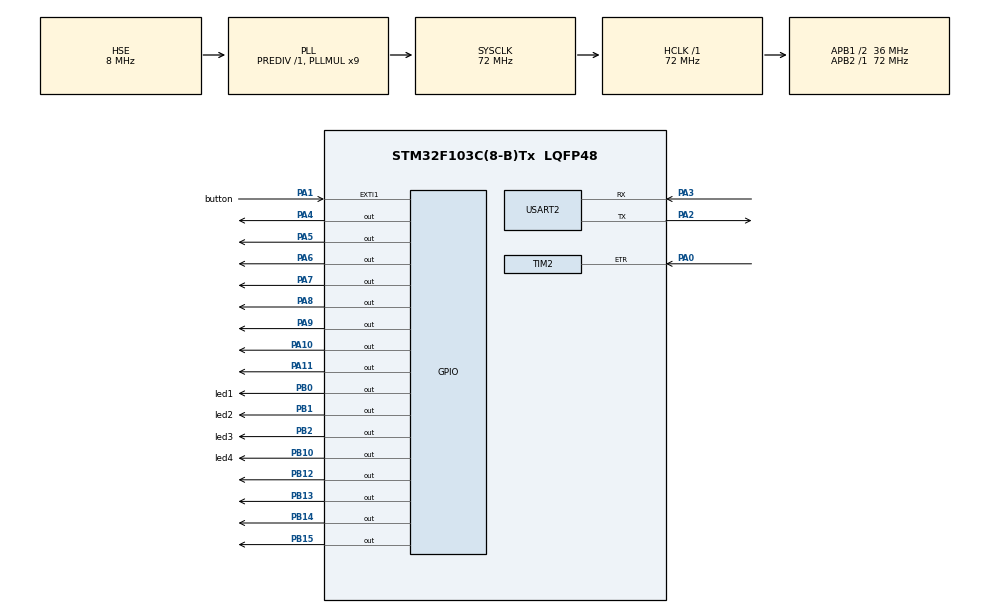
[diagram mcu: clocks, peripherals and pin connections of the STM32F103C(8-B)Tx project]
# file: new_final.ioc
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Mcu.Family=STM32F1
Mcu.Name=STM32F103C(8-B)Tx
Mcu.Package=LQFP48
NVIC.EXTI1_IRQn=true\:0\:0\:false\:false\:true\:true\:true\:true
NVIC.PriorityGroup=NVIC_PRIORITYGROUP_4
NVIC.TIM1_UP_IRQn=true\:0\:0\:false\:false\:true\:true\:true\:true
NVIC.USART2_IRQn=true\:0\:0\:false\:false\:true\:true\:true\:true
PA0-WKUP.Signal=S_TIM2_CH1_ETR
PA1.GPIO_Label=button
PA1.GPIO_PuPd=GPIO_PULLDOWN
PA1.Signal=GPXTI1
PA10.Signal=GPIO_Output
PA11.Signal=GPIO_Output
PA13.Mode=Serial_Wire
PA13.Signal=SYS_JTMS-SWDIO
PA14.Mode=Serial_Wire
PA14.Signal=SYS_JTCK-SWCLK
PA2.Mode=Asynchronous
PA2.Signal=USART2_TX
PA3.Mode=Asynchronous
PA3.Signal=USART2_RX
PA4.GPIO_Speed=GPIO_SPEED_FREQ_HIGH
PA4.Signal=GPIO_Output
PA5.GPIO_Speed=GPIO_SPEED_FREQ_HIGH
PA5.Signal=GPIO_Output
PA6.GPIO_Speed=GPIO_SPEED_FREQ_HIGH
PA6.Signal=GPIO_Output
PA7.GPIO_Speed=GPIO_SPEED_FREQ_HIGH
PA7.Signal=GPIO_Output
PA8.Signal=GPIO_Output
PA9.Signal=GPIO_Output
PB0.GPIO_Label=led1
PB0.Signal=GPIO_Output
PB1.GPIO_Label=led2
PB1.Signal=GPIO_Output
PB10.GPIO_Label=led4
PB10.Signal=GPIO_Output
PB12.Signal=GPIO_Output
PB13.Signal=GPIO_Output
PB14.Signal=GPIO_Output
PB15.Signal=GPIO_Output
PB2.GPIO_Label=led3
PB2.Signal=GPIO_Output
PD0-OSC_IN.Mode=HSE-External-Oscillator
PD0-OSC_IN.Signal=RCC_OSC_IN
PD1-OSC_OUT.Mode=HSE-External-Oscillator
PD1-OSC_OUT.Signal=RCC_OSC_OUT
ProjectManager.HeapSize=0x200
ProjectManager.StackSize=0x400
ProjectManager.TargetToolchain=STM32CubeIDE
RCC.AHBFreq_Value=72000000
RCC.APB1CLKDivider=RCC_HCLK_DIV2
RCC.APB1Freq_Value=36000000
RCC.APB1TimFreq_Value=72000000
RCC.APB2Freq_Value=72000000
RCC.APB2TimFreq_Value=72000000
RCC.HCLKFreq_Value=72000000
RCC.PLLMUL=RCC_PLL_MUL9
RCC.PLLSourceVirtual=RCC_PLLSOURCE_HSE
RCC.SYSCLKFreq_VALUE=72000000
RCC.SYSCLKSource=RCC_SYSCLKSOURCE_PLLCLK
RCC.USBFreq_Value=72000000
SH.S_TIM2_CH1_ETR.0=TIM2_ETR,ClockSourceETR_Mode2
TIM1.CounterMode=TIM_COUNTERMODE_DOWN
TIM1.Period=99
TIM1.Prescaler=7199
TIM1.TIM_MasterOutputTrigger=TIM_TRGO_ENABLE
TIM1.TIM_MasterSlaveMode=TIM_MASTERSLAVEMODE_ENABLE
TIM2.TIM_MasterOutputTrigger=TIM_TRGO_UPDATE
USART2.VirtualMode=VM_ASYNC
VP_TIM1_VS_ClockSourceINT.Mode=Internal
VP_TIM1_VS_OPM.Mode=OPM_bit
VP_TIM2_VS_ClockSourceITR.Mode=TriggerSource_ITR0
VP_TIM2_VS_ControllerModeGated.Mode=Gated Mode
VP_TIM3_VS_ClockSourceITR.Mode=TriggerSource_ITR1
VP_TIM3_VS_ControllerModeClock.Mode=Clock Mode
board=custom

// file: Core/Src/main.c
/* USER CODE BEGIN Header */
/**
  ******************************************************************************
  * @file           : main.c
  * @brief          : Main program body
  ******************************************************************************
  * @attention
  *
  * Copyright (c) 2025 STMicroelectronics.
  * All rights reserved.
  *
  * This software is licensed under terms that can be found in the LICENSE file
  * in the root directory of this software component.
  * If no LICENSE file comes with this software, it is provided AS-IS.
  *
  ******************************************************************************
  */
/* USER CODE END Header */
#include "main.h"

/* USER CODE BEGIN Includes */
#include <stdio.h>
#include <string.h>
#include <stdbool.h>
/* USER CODE END Includes */

TIM_HandleTypeDef htim1;
TIM_HandleTypeDef htim2;
TIM_HandleTypeDef htim3;

UART_HandleTypeDef huart2;

void SystemClock_Config(void);
static void MX_GPIO_Init(void);
static void MX_TIM1_Init(void);
static void MX_USART2_UART_Init(void);
static void MX_TIM2_Init(void);
static void MX_TIM3_Init(void);

/* USER CODE BEGIN 0 */
#define MAX_SAMPLES 11  // Мы будем искать медианное значение 10-ти импульсов
#define NUMBER_OF_SENSORS 8 //кол-во датчиков
volatile uint8_t isProccess = 0;
volatile uint32_t frequenciesForCurrentSensor[MAX_SAMPLES];
volatile uint32_t capture_count = 0;
volatile uint32_t lastInterruptTime = 0;
volatile uint8_t currentSensor = 0;
volatile uint32_t frequenciesResults[NUMBER_OF_SENSORS];
uint8_t rxBuffer[1];
void SelectMuxChannel(uint8_t channel);
void PrintSensorFrequencies();

typedef struct {
    uint8_t s0, s1, s2, s3;  // Управление мультиплексором
    GPIO_TypeDef* power_port; // Порт питания датчика
    uint16_t power_pin;       // Пин питания датчика
} MuxChannelConfig;
// Массив для выбора каналов [S0, S1, S2, S3] (канал 0-7)
// Формат: [S0, S1, S2, S3, GPIO_PORT, GPIO_PIN]
const MuxChannelConfig muxChannels[16]  = {
    {0, 0, 0, 0, GPIOB, GPIO_PIN_12},  // Канал 0 → PB12 (1-й датчик)
    {1, 0, 0, 0, GPIOB, GPIO_PIN_13},  // Канал 1 → PB13 (2-й датчик)
    {0, 1, 0, 0, GPIOB, GPIO_PIN_14},  // Канал 2 → PB14
    {1, 1, 0, 0, GPIOB, GPIO_PIN_15},  // Канал 3 → PB15
    {0, 0, 1, 0, GPIOA, GPIO_PIN_8},   // Канал 4 → PA8
    {1, 0, 1, 0, GPIOA, GPIO_PIN_9},   // Канал 5 → PA9
    {0, 1, 1, 0, GPIOA, GPIO_PIN_10},  // Канал 6 → PA10
    {1, 1, 1, 0, GPIOA, GPIO_PIN_11},  // Канал 7 → PA11
};
/* USER CODE END 0 */

int main(void)
{

  /* MCU Configuration--------------------------------------------------------*/

  /* Reset of all peripherals, Initializes the Flash interface and the Systick. */
  HAL_Init();

  /* Configure the system clock */
  SystemClock_Config();

  /* Initialize all configured peripherals */
  MX_GPIO_Init();
  MX_TIM1_Init();
  MX_USART2_UART_Init();
  MX_TIM2_Init();
  MX_TIM3_Init();

  /* Infinite loop */
  /* USER CODE BEGIN WHILE */
  HAL_UART_Receive_IT(&huart2, rxBuffer, 1);
  while (1)
  {
    /* USER CODE END WHILE */

  }
}

void SystemClock_Config(void)
{
  RCC_OscInitTypeDef RCC_OscInitStruct = {0};
  RCC_ClkInitTypeDef RCC_ClkInitStruct = {0};

  /** Initializes the RCC Oscillators according to the specified parameters
  * in the RCC_OscInitTypeDef structure.
  */
  RCC_OscInitStruct.OscillatorType = RCC_OSCILLATORTYPE_HSE;
  RCC_OscInitStruct.HSEState = RCC_HSE_ON;
  RCC_OscInitStruct.HSEPredivValue = RCC_HSE_PREDIV_DIV1;
  RCC_OscInitStruct.HSIState = RCC_HSI_ON;
  RCC_OscInitStruct.PLL.PLLState = RCC_PLL_ON;
  RCC_OscInitStruct.PLL.PLLSource = RCC_PLLSOURCE_HSE;
  RCC_OscInitStruct.PLL.PLLMUL = RCC_PLL_MUL9;
  if (HAL_RCC_OscConfig(&RCC_OscInitStruct) != HAL_OK)
  {
    Error_Handler();
  }

  /** Initializes the CPU, AHB and APB buses clocks
  */
  RCC_ClkInitStruct.ClockType = RCC_CLOCKTYPE_HCLK|RCC_CLOCKTYPE_SYSCLK
                              |RCC_CLOCKTYPE_PCLK1|RCC_CLOCKTYPE_PCLK2;
  RCC_ClkInitStruct.SYSCLKSource = RCC_SYSCLKSOURCE_PLLCLK;
  RCC_ClkInitStruct.AHBCLKDivider = RCC_SYSCLK_DIV1;
  RCC_ClkInitStruct.APB1CLKDivider = RCC_HCLK_DIV2;
  RCC_ClkInitStruct.APB2CLKDivider = RCC_HCLK_DIV1;

  if (HAL_RCC_ClockConfig(&RCC_ClkInitStruct, FLASH_LATENCY_2) != HAL_OK)
  {
    Error_Handler();
  }
}

static void MX_TIM1_Init(void)
{

  TIM_ClockConfigTypeDef sClockSourceConfig = {0};
  TIM_MasterConfigTypeDef sMasterConfig = {0};

  htim1.Instance = TIM1;
  htim1.Init.Prescaler = 7199;
  htim1.Init.CounterMode = TIM_COUNTERMODE_DOWN;
  htim1.Init.Period = 99;
  htim1.Init.ClockDivision = TIM_CLOCKDIVISION_DIV1;
  htim1.Init.RepetitionCounter = 0;
  htim1.Init.AutoReloadPreload = TIM_AUTORELOAD_PRELOAD_DISABLE;
  if (HAL_TIM_Base_Init(&htim1) != HAL_OK)
  {
    Error_Handler();
  }
  sClockSourceConfig.ClockSource = TIM_CLOCKSOURCE_INTERNAL;
  if (HAL_TIM_ConfigClockSource(&htim1, &sClockSourceConfig) != HAL_OK)
  {
    Error_Handler();
  }
  if (HAL_TIM_OnePulse_Init(&htim1, TIM_OPMODE_SINGLE) != HAL_OK)
  {
    Error_Handler();
  }
  sMasterConfig.MasterOutputTrigger = TIM_TRGO_ENABLE;
  sMasterConfig.MasterSlaveMode = TIM_MASTERSLAVEMODE_ENABLE;
  if (HAL_TIMEx_MasterConfigSynchronization(&htim1, &sMasterConfig) != HAL_OK)
  {
    Error_Handler();
  }

}

static void MX_TIM2_Init(void)
{

  TIM_ClockConfigTypeDef sClockSourceConfig = {0};
  TIM_SlaveConfigTypeDef sSlaveConfig = {0};
  TIM_MasterConfigTypeDef sMasterConfig = {0};

  htim2.Instance = TIM2;
  htim2.Init.Prescaler = 0;
  htim2.Init.CounterMode = TIM_COUNTERMODE_UP;
  htim2.Init.Period = 65535;
  htim2.Init.ClockDivision = TIM_CLOCKDIVISION_DIV1;
  htim2.Init.AutoReloadPreload = TIM_AUTORELOAD_PRELOAD_DISABLE;
  if (HAL_TIM_Base_Init(&htim2) != HAL_OK)
  {
    Error_Handler();
  }
  sClockSourceConfig.ClockSource = TIM_CLOCKSOURCE_ETRMODE2;
  sClockSourceConfig.ClockPolarity = TIM_CLOCKPOLARITY_NONINVERTED;
  sClockSourceConfig.ClockPrescaler = TIM_CLOCKPRESCALER_DIV1;
  sClockSourceConfig.ClockFilter = 0;
  if (HAL_TIM_ConfigClockSource(&htim2, &sClockSourceConfig) != HAL_OK)
  {
    Error_Handler();
  }
  sSlaveConfig.SlaveMode = TIM_SLAVEMODE_GATED;
  sSlaveConfig.InputTrigger = TIM_TS_ITR0;
  if (HAL_TIM_SlaveConfigSynchro(&htim2, &sSlaveConfig) != HAL_OK)
  {
    Error_Handler();
  }
  sMasterConfig.MasterOutputTrigger = TIM_TRGO_UPDATE;
  sMasterConfig.MasterSlaveMode = TIM_MASTERSLAVEMODE_DISABLE;
  if (HAL_TIMEx_MasterConfigSynchronization(&htim2, &sMasterConfig) != HAL_OK)
  {
    Error_Handler();
  }

}

static void MX_TIM3_Init(void)
{

  TIM_SlaveConfigTypeDef sSlaveConfig = {0};
  TIM_MasterConfigTypeDef sMasterConfig = {0};

  htim3.Instance = TIM3;
  htim3.Init.Prescaler = 0;
  htim3.Init.CounterMode = TIM_COUNTERMODE_UP;
  htim3.Init.Period = 65535;
  htim3.Init.ClockDivision = TIM_CLOCKDIVISION_DIV1;
  htim3.Init.AutoReloadPreload = TIM_AUTORELOAD_PRELOAD_DISABLE;
  if (HAL_TIM_Base_Init(&htim3) != HAL_OK)
  {
    Error_Handler();
  }
  sSlaveConfig.SlaveMode = TIM_SLAVEMODE_EXTERNAL1;
  sSlaveConfig.InputTrigger = TIM_TS_ITR1;
  if (HAL_TIM_SlaveConfigSynchro(&htim3, &sSlaveConfig) != HAL_OK)
  {
    Error_Handler();
  }
  sMasterConfig.MasterOutputTrigger = TIM_TRGO_RESET;
  sMasterConfig.MasterSlaveMode = TIM_MASTERSLAVEMODE_DISABLE;
  if (HAL_TIMEx_MasterConfigSynchronization(&htim3, &sMasterConfig) != HAL_OK)
  {
    Error_Handler();
  }

}

static void MX_USART2_UART_Init(void)
{

  huart2.Instance = USART2;
  huart2.Init.BaudRate = 115200;
  huart2.Init.WordLength = UART_WORDLENGTH_8B;
  huart2.Init.StopBits = UART_STOPBITS_1;
  huart2.Init.Parity = UART_PARITY_NONE;
  huart2.Init.Mode = UART_MODE_TX_RX;
  huart2.Init.HwFlowCtl = UART_HWCONTROL_NONE;
  huart2.Init.OverSampling = UART_OVERSAMPLING_16;
  if (HAL_UART_Init(&huart2) != HAL_OK)
  {
    Error_Handler();
  }

}

static void MX_GPIO_Init(void)
{
  GPIO_InitTypeDef GPIO_InitStruct = {0};

  /* GPIO Ports Clock Enable */
  __HAL_RCC_GPIOD_CLK_ENABLE();
  __HAL_RCC_GPIOA_CLK_ENABLE();
  __HAL_RCC_GPIOB_CLK_ENABLE();

  /*Configure GPIO pin Output Level */
  HAL_GPIO_WritePin(GPIOA, GPIO_PIN_4|GPIO_PIN_5|GPIO_PIN_6|GPIO_PIN_7
                          |GPIO_PIN_8|GPIO_PIN_9|GPIO_PIN_10|GPIO_PIN_11, GPIO_PIN_RESET);

  /*Configure GPIO pin Output Level */
  HAL_GPIO_WritePin(GPIOB, led1_Pin|led2_Pin|led3_Pin|led4_Pin
                          |GPIO_PIN_12|GPIO_PIN_13|GPIO_PIN_14|GPIO_PIN_15, GPIO_PIN_RESET);

  /*Configure GPIO pin : button_Pin */
  GPIO_InitStruct.Pin = button_Pin;
  GPIO_InitStruct.Mode = GPIO_MODE_IT_RISING;
  GPIO_InitStruct.Pull = GPIO_PULLDOWN;
  HAL_GPIO_Init(button_GPIO_Port, &GPIO_InitStruct);

  /*Configure GPIO pins : PA4 PA5 PA6 PA7 */
  GPIO_InitStruct.Pin = GPIO_PIN_4|GPIO_PIN_5|GPIO_PIN_6|GPIO_PIN_7;
  GPIO_InitStruct.Mode = GPIO_MODE_OUTPUT_PP;
  GPIO_InitStruct.Pull = GPIO_NOPULL;
  GPIO_InitStruct.Speed = GPIO_SPEED_FREQ_HIGH;
  HAL_GPIO_Init(GPIOA, &GPIO_InitStruct);

  /*Configure GPIO pins : led1_Pin led2_Pin led3_Pin led4_Pin
                           PB12 PB13 PB14 PB15 */
  GPIO_InitStruct.Pin = led1_Pin|led2_Pin|led3_Pin|led4_Pin
                          |GPIO_PIN_12|GPIO_PIN_13|GPIO_PIN_14|GPIO_PIN_15;
  GPIO_InitStruct.Mode = GPIO_MODE_OUTPUT_PP;
  GPIO_InitStruct.Pull = GPIO_NOPULL;
  GPIO_InitStruct.Speed = GPIO_SPEED_FREQ_LOW;
  HAL_GPIO_Init(GPIOB, &GPIO_InitStruct);

  /*Configure GPIO pins : PA8 PA9 PA10 PA11 */
  GPIO_InitStruct.Pin = GPIO_PIN_8|GPIO_PIN_9|GPIO_PIN_10|GPIO_PIN_11;
  GPIO_InitStruct.Mode = GPIO_MODE_OUTPUT_PP;
  GPIO_InitStruct.Pull = GPIO_NOPULL;
  GPIO_InitStruct.Speed = GPIO_SPEED_FREQ_LOW;
  HAL_GPIO_Init(GPIOA, &GPIO_InitStruct);

  /* EXTI interrupt init*/
  HAL_NVIC_SetPriority(EXTI1_IRQn, 0, 0);
  HAL_NVIC_EnableIRQ(EXTI1_IRQn);

}

/* USER CODE BEGIN 4 */
void HAL_TIM_PeriodElapsedCallback(TIM_HandleTypeDef *htim){
	if(htim == &htim1){
		HAL_TIM_Base_Stop_IT(&htim1);
		HAL_TIM_Base_Stop(&htim2);
		HAL_TIM_Base_Stop(&htim3);
		if(capture_count < MAX_SAMPLES){
			uint16_t count_main = __HAL_TIM_GET_COUNTER(&htim2); // значение в счётчике таймера №2
			uint16_t count_secondary = __HAL_TIM_GET_COUNTER(&htim3); // значение в счётчике таймера №3
			uint16_t arr = __HAL_TIM_GET_AUTORELOAD(&htim2); // значение переполнения таймера №2 (65535)
			frequenciesForCurrentSensor[capture_count] = (count_main + (count_secondary * (arr + 1)))*100; // вычисляем

			// uint32_t freq = TIM2->CNT + (TIM3->CNT << 16); // это вариант на регистрах, предыдущие четыре строчки можно закомментить

//			char debug[64];
//			snprintf(debug, sizeof(debug), "Sample = %lu\r\n", frequenciesForCurrentSensor[capture_count]);
//			HAL_UART_Transmit(&huart2, (uint8_t*)debug, strlen(debug), HAL_MAX_DELAY);
			//////////////// обнуляем счётчики и рестартуем таймер №1 /////////////////
			__HAL_TIM_SET_COUNTER(&htim2, 0x0000);
			__HAL_TIM_SET_COUNTER(&htim3, 0x0000);
			capture_count++;
			HAL_TIM_Base_Start_IT(&htim1);
			HAL_TIM_Base_Start(&htim2);
			HAL_TIM_Base_Start(&htim3);

		}

		else{
			HAL_TIM_Base_Stop_IT(&htim1);                 // Остановить
			HAL_TIM_Base_Stop(&htim2);
			HAL_TIM_Base_Stop(&htim3);

           // обнуляем таймеры
			__HAL_TIM_SET_COUNTER(&htim2, 0x0000);
			__HAL_TIM_SET_COUNTER(&htim3, 0x0000);

			// Сортировка массива (сортировка вставками для маленького массива)
			for (int i = 1; i < MAX_SAMPLES; i++) {
				uint32_t key = frequenciesForCurrentSensor[i];
				int j = i - 1;
				while (j >= 0 && frequenciesForCurrentSensor[j] > key) {
					frequenciesForCurrentSensor[j + 1] = frequenciesForCurrentSensor[j];
					j--;
				}
				frequenciesForCurrentSensor[j + 1] = key;
			}

			// Медиана (середина отсортированного массива)
			uint32_t frequency_median = frequenciesForCurrentSensor[MAX_SAMPLES / 2];

			frequenciesResults[currentSensor] = frequency_median;
			capture_count = 0;
			currentSensor++;

			if(currentSensor < NUMBER_OF_SENSORS){
				SelectMuxChannel(currentSensor);
				HAL_TIM_Base_Start_IT(&htim1);
				HAL_TIM_Base_Start(&htim2);
				HAL_TIM_Base_Start(&htim3);
			}

			else{
				PrintSensorFrequencies();
			    HAL_GPIO_WritePin(GPIOB, GPIO_PIN_0 | GPIO_PIN_1 | GPIO_PIN_2 | GPIO_PIN_3, GPIO_PIN_RESET);
			    HAL_GPIO_WritePin(GPIOB, GPIO_PIN_12 | GPIO_PIN_13 | GPIO_PIN_14 | GPIO_PIN_15, GPIO_PIN_RESET);
			    HAL_GPIO_WritePin(GPIOA, GPIO_PIN_8 | GPIO_PIN_9 | GPIO_PIN_10 | GPIO_PIN_11, GPIO_PIN_RESET);
			    capture_count = 0;
			    currentSensor = 0;
				isProccess = 0;
			}

		}
	}
}

void HAL_GPIO_EXTI_Callback(uint16_t GPIO_Pin)
{
	uint32_t now = HAL_GetTick();
	if (now - lastInterruptTime < 200) return;
	lastInterruptTime = now;
	if(isProccess) return;

  if (GPIO_Pin == GPIO_PIN_1 && !isProccess){
		isProccess = 1;
	   // char buffer[64]; // Буфер для формирования строки
//	    int len = snprintf(buffer, sizeof(buffer), "Counter is started\r\n");
	   // HAL_UART_Transmit(&huart2, (uint8_t*)buffer, len, HAL_MAX_DELAY);
		SelectMuxChannel(currentSensor);

		HAL_TIM_Base_Start_IT(&htim1);
		HAL_TIM_Base_Start(&htim2);
		HAL_TIM_Base_Start(&htim3);
  }
}

void SelectMuxChannel(uint8_t channel) {
    // 1. Отключаем все датчики (опционально, если нужно строгое управление)
    HAL_GPIO_WritePin(GPIOB, GPIO_PIN_12 | GPIO_PIN_13 | GPIO_PIN_14 | GPIO_PIN_15, GPIO_PIN_RESET);
    HAL_GPIO_WritePin(GPIOA, GPIO_PIN_8 | GPIO_PIN_9 | GPIO_PIN_10 | GPIO_PIN_11, GPIO_PIN_RESET);

    // 2. Устанавливаем канал мультиплексора
    HAL_GPIO_WritePin(GPIOA, GPIO_PIN_7, muxChannels[channel].s0 ? GPIO_PIN_SET : GPIO_PIN_RESET);
    HAL_GPIO_WritePin(GPIOA, GPIO_PIN_6, muxChannels[channel].s1 ? GPIO_PIN_SET : GPIO_PIN_RESET);
    HAL_GPIO_WritePin(GPIOA, GPIO_PIN_5, muxChannels[channel].s2 ? GPIO_PIN_SET : GPIO_PIN_RESET);
    HAL_GPIO_WritePin(GPIOA, GPIO_PIN_4, muxChannels[channel].s3 ? GPIO_PIN_SET : GPIO_PIN_RESET);

    // 3. Включаем питание датчика, если указаны порт и пин
    if (muxChannels[channel].power_port != NULL) {
        HAL_GPIO_WritePin(muxChannels[channel].power_port, muxChannels[channel].power_pin, GPIO_PIN_SET);
    }

    // 4. Задержка для стабилизации
    for (volatile int i = 0; i < 10000; i++);
}

void PrintSensorFrequencies() {
    char buffer[64]; // Буфер для формирования строки

    for (int i = 0; i < NUMBER_OF_SENSORS; i++) {
        // Форматируем строку для каждого датчика
        int len = snprintf(buffer, sizeof(buffer), "sensor%d:%lu\r\n",
                          i + 1, frequenciesResults[i]);

        // Отправляем в UART
        HAL_UART_Transmit(&huart2, (uint8_t*)buffer, len, HAL_MAX_DELAY);
    }

    //int len = snprintf(buffer, sizeof(buffer), "-------------------------\r\n\r\n");
   // HAL_UART_Transmit(&huart2, (uint8_t*)buffer, len, HAL_MAX_DELAY);
}

void HAL_UART_RxCpltCallback(UART_HandleTypeDef *huart)
{
    if (huart == &huart2)
    {
        // Преобразование ASCII символа '1'...'4' в число 1...4
        if (rxBuffer[0] >= '1' && rxBuffer[0] <= '4') {
            uint8_t ledNumber = rxBuffer[0] - '0'; // '1' -> 1, '2' -> 2, и т.д.

            // Сброс всех светодиодов
            HAL_GPIO_WritePin(GPIOB, GPIO_PIN_0, GPIO_PIN_RESET);
            HAL_GPIO_WritePin(GPIOB, GPIO_PIN_1, GPIO_PIN_RESET);
            HAL_GPIO_WritePin(GPIOB, GPIO_PIN_2, GPIO_PIN_RESET);
            HAL_GPIO_WritePin(GPIOB, GPIO_PIN_10, GPIO_PIN_RESET);

            // Включение нужного светодиода
            switch (ledNumber) {
                case 1:
                    HAL_GPIO_WritePin(GPIOB, GPIO_PIN_0, GPIO_PIN_SET);
                    break;
                case 2:
                    HAL_GPIO_WritePin(GPIOB, GPIO_PIN_1, GPIO_PIN_SET);
                    break;
                case 3:
                    HAL_GPIO_WritePin(GPIOB, GPIO_PIN_2, GPIO_PIN_SET);
                    break;
                case 4:
                    HAL_GPIO_WritePin(GPIOB, GPIO_PIN_10, GPIO_PIN_SET);
                    break;
            }
        }

        // Перезапуск приёма
        HAL_UART_Receive_IT(&huart2, rxBuffer, 1);
    }
}

/* USER CODE END 4 */

void Error_Handler(void)
{
  __disable_irq();
  while (1)
  {
  }
}
